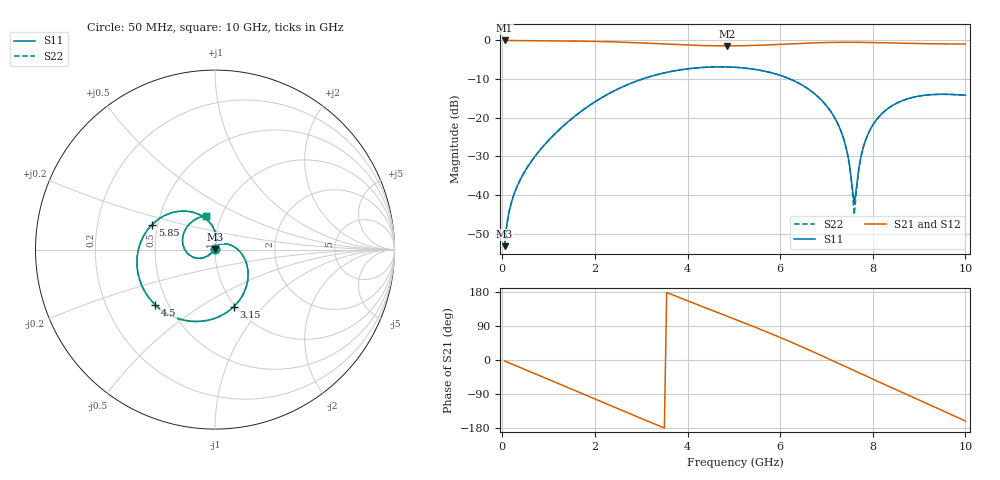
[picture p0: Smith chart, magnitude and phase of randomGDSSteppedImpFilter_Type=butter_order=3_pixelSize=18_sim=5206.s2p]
! freq	dB(S11)	phase(S11)	dB(S12)	phase(S12)
!  dB(S21)	phase(S21)	dB(S22)	phase(S22)
!S-par simulation data
#  GHz  S  DB  R 50
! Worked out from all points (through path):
!   200 points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, 50 MHz to 10 GHz, reference 50 ohm
!   highest |S21| = 0.00 dB at 50 MHz (marker M1); lowest = -1.4 dB at 4.85 GHz (marker M2)
!   group delay of S21, straight-line fit = 143 ps
!   lowest |S11| = -53.2 dB at 50 MHz (marker M3), VSWR 1.00, Z = 50 + j0.217 ohm
!   |S11| at or under -10 dB: start of sweep to 3.019 GHz; 6.218 GHz to end of sweep
!   |S22| runs from -53.2 to -6.8 dB; largest |S21 - S12| = 0
!   S11 on the Smith chart (normalised r, x): 50 MHz: 1.00, +0.00; 3.15 GHz: 0.98, -0.70; 4.5 GHz: 0.42, -0.33; 5.85 GHz: 0.47, +0.15; 10 GHz: 0.85, +0.33
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0.05  -53.19 82.6  -0.00 -2.6  -0.00 -2.6  -53.19 82.6
0.1  -47.40 79.9  -0.01 -5.2  -0.01 -5.2  -47.40 79.9
0.2  -41.74 75.1  -0.02 -10.3  -0.02 -10.3  -41.74 75.2
0.45  -34.61 64.8  -0.04 -23.0  -0.04 -23.0  -34.61 64.9
1.15  -23.99 31.0  -0.09 -58.9  -0.09 -58.9  -23.98 31.2
1.75  -17.92 0.1  -0.18 -89.9  -0.18 -89.9  -17.92 0.3
2.35  -13.44 -31.0  -0.35 -121.0  -0.35 -121.0  -13.44 -30.9
3.15  -9.49 -72.0  -0.74 -161.9  -0.74 -161.9  -9.49 -71.9
3.4  -8.67 -84.4  -0.88 -174.4  -0.88 -174.4  -8.67 -84.4
4.5  -6.87 -137.2  -1.36 132.4  -1.36 132.4  -6.87 -137.2
4.85  -6.85 -153.6  -1.40 115.8  -1.40 115.8  -6.85 -153.6
5.05  -6.96 -163.0  -1.38 106.3  -1.38 106.3  -6.96 -163.0
5.85  -8.48 158.3  -1.10 67.1  -1.10 67.1  -8.48 158.2
6.7  -13.36 114.5  -0.64 22.3  -0.64 22.3  -13.37 114.1
7.35  -24.64 83.6  -0.47 -13.9  -0.47 -13.9  -24.69 81.5
7.5  -32.33 85.6  -0.47 -22.4  -0.47 -22.4  -32.56 80.7
7.6  -42.26 149.4  -0.48 -28.0  -0.48 -28.0  -45.05 149.8
7.7  -32.93 -143.1  -0.49 -33.6  -0.49 -33.6  -33.16 -137.5
7.8  -27.39 -139.4  -0.50 -39.2  -0.50 -39.2  -27.45 -136.3
8.35  -17.41 -163.7  -0.64 -69.9  -0.64 -69.9  -17.42 -162.8
9.1  -14.20 155.0  -0.82 -111.1  -0.82 -111.1  -14.21 155.6
10  -14.17 104.5  -0.94 -161.0  -0.94 -161.0  -14.18 104.7
